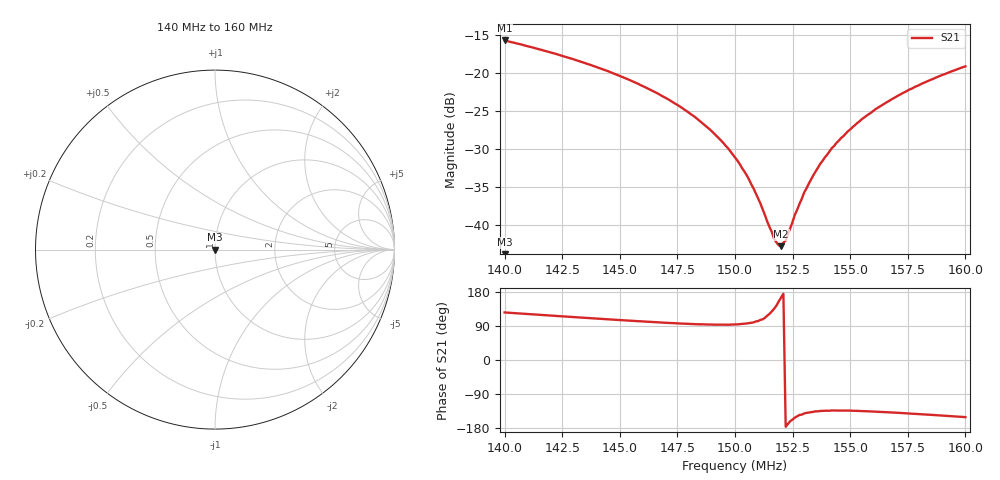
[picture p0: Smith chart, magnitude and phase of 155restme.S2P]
!Agilent Technologies,E5072A,MY51200456,A.01.14
!Date: Tue Nov 19 12:27:07 2019
!Data & Calibration Information:
!Freq	S11:NONE(--)	S21:NONE(--)	S12:NONE(--)	S22:NONE(--)
!PortZ  Port1:50+j0  Port2:50+j0
!Above PortZ is port z conversion or system Z0 setting when saving the data.
!When reading, reference impedance value at option line is always used.
# Hz S RI R 50
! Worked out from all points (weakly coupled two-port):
!   201 points, 140 MHz to 160 MHz, reference 50 ohm
!   highest |S21| = -15.67 dB at 140 MHz (marker M1); lowest = -42.7 dB at 152 MHz (marker M2)
!   lowest |S11| = - dB at 140 MHz (marker M3), VSWR 1.00, Z = 50 + j0 ohm
!   |S11| at or under -10 dB: start of sweep to end of sweep
!   S12 and S22 are empty: the file has one direction only
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1.4e8  0 0  -0.0957 0.134  0 0  0 0
1.434e8  0 0  -0.0435 0.1099  0 0  0 0
1.454e8  0 0  -0.0219 0.0881  0 0  0 0
1.467e8  0 0  -0.0118 0.072  0 0  0 0
1.485e8  0 0  -0.00357 0.0481  0 0  0 0
1.493e8  0 0  -0.00211 0.0374  0 0  0 0
1.5e8  0 0  -0.00185 0.0279  0 0  0 0
1.505e8  0 0  -0.00237 0.0213  0 0  0 0
1.508e8  0 0  -0.00277 0.0173  0 0  0 0
1.511e8  0 0  -0.00379 0.0134  0 0  0 0
1.517e8  0 0  -0.00579 0.0057  0 0  0 0
1.52e8  0 0  -0.00703 0.00193  0 0  0 0
1.522e8  0 0  -0.00791 -0.000536  0 0  0 0
1.526e8  0 0  -0.0104 -0.00551  0 0  0 0
1.53e8  0 0  -0.0128 -0.0103  0 0  0 0
1.534e8  0 0  -0.0156 -0.0146  0 0  0 0
1.542e8  0 0  -0.022 -0.0235  0 0  0 0
1.549e8  0 0  -0.0286 -0.0302  0 0  0 0
1.556e8  0 0  -0.0361 -0.0363  0 0  0 0
1.567e8  0 0  -0.0491 -0.0441  0 0  0 0
1.581e8  0 0  -0.0684 -0.0513  0 0  0 0
1.6e8  0 0  -0.097 -0.0544  0 0  0 0
